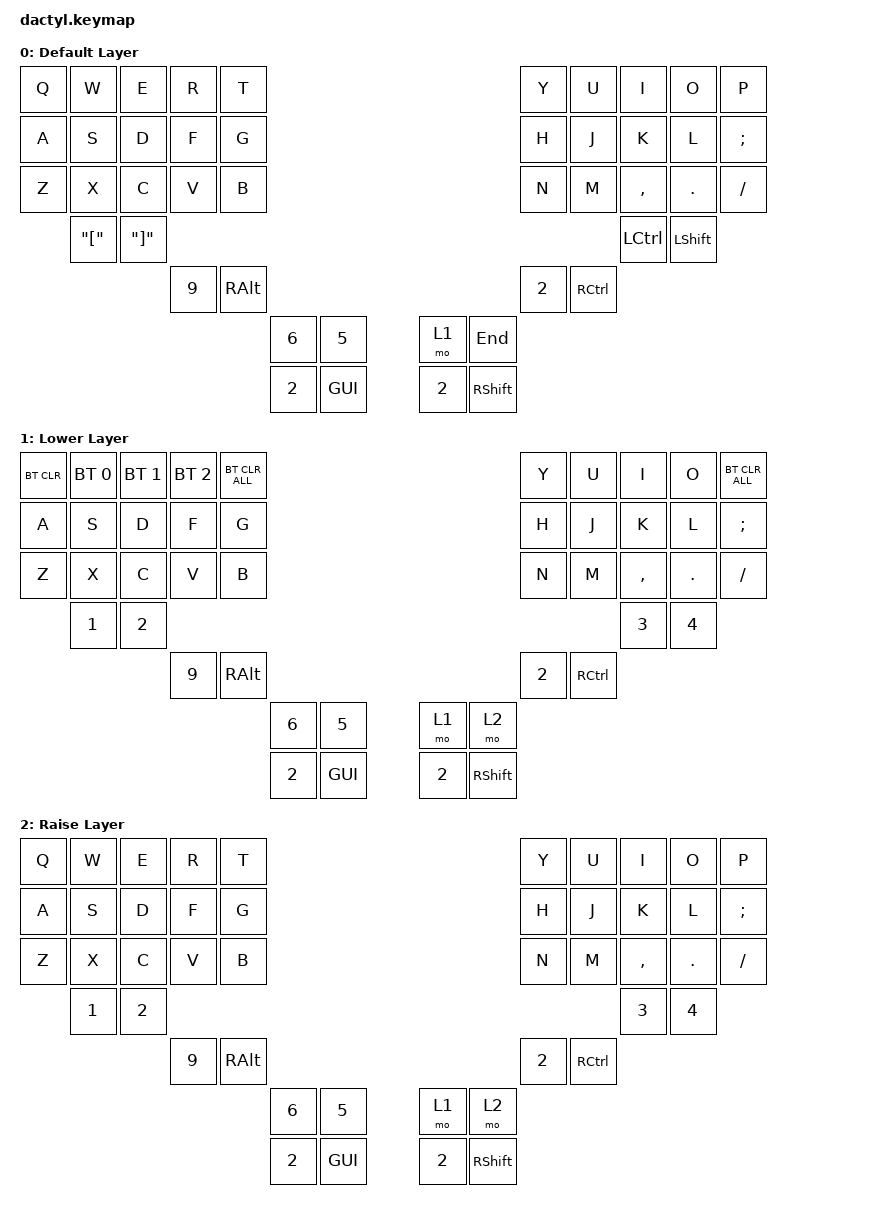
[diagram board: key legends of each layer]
/*
 * Copyright (c) 2020 The ZMK Contributors
 *
 * SPDX-License-Identifier: MIT
 */

#include <behaviors.dtsi>
#include <dt-bindings/zmk/keys.h>
#include <dt-bindings/zmk/bt.h>

/ {
        keymap {
                compatible = "zmk,keymap";

                default_layer {
                        display-name = "Default Layer";
// -----------------------------------------------------------------------------------------
// |  Q  |  W  |  E  |  R  |  T  |    		       |  Y  |  U   |  I  |  O  |  P  |
// |  A  |  S  |  D  |  F  |  G  |       		   |  H  |  J   |  K  |  L  |  ;  |
// |  Z  |  X  |  C  |  V  |  B  |       		   |  N  |  M   |  ,  |  .  |  /  |
//       | "[" | "]" |                       		            |  _  | CTRL |
//                   | CTRL | SHIFT |    		   |  LT  | SHIFT |
//					 | CTRL | SHIFT |   	       |  LT  | SHIFT |
//                   | CTRL | SHIFT |       	   |  LT  | SHIFT |					 
                        bindings = <
   &kp Q 	&kp W 		&kp E 	&kp R 		&kp T  						 &kp Y 		&kp U  		&kp I     &kp O   &kp P    
   &kp A 	&kp S 		&kp D 	&kp F 		&kp G  						 &kp H 		&kp J  		&kp K     &kp L   &kp SEMI 
   &kp Z 	&kp X 		&kp C 	&kp V 		&kp B  					 	 &kp N 		&kp M  		&kp COMMA &kp DOT &kp FSLH 
			&kp "[" 	&kp "]" &kp LCTRL 	&kp LSHIFT  				 &kp N9 	&kp RALT 	&kp N2 	  &kp RCTRL
			&kp N6 		&kp N5 	&mo 1  		&kp END				   	   	 &kp N2 	&kp GUI 	&kp N2 	  &kp RSHIFT
						        	
						         	
                        >;
                };
                lower_layer {
                        display-name = "Lower Layer";
						bindings = <
   &bt BT_CLR &bt BT_SEL 0 &bt BT_SEL 1 &bt BT_SEL 2 &bt BT_CLR_ALL 						 &kp Y &kp U  &kp I     &kp O   &bt BT_CLR_ALL    
   &kp A &kp S &kp D &kp F &kp G  						 &kp H &kp J  &kp K     &kp L   &kp SEMI 
   &kp Z &kp X &kp C &kp V &kp B  					 	 &kp N &kp M  &kp COMMA &kp DOT &kp FSLH 
         &kp N1 &kp N2 &kp N3 &kp N4  				     &kp N9 &kp RALT &kp N2 &kp RCTRL
		 &kp N6 &kp N5 &mo 1  &mo 2				   	   	 &kp N2 &kp GUI &kp N2 &kp RSHIFT						        	       	
						>;    
                };

                raise_layer {
                        display-name = "Raise Layer";
						bindings = <
   &kp Q &kp W &kp E &kp R &kp T  						 &kp Y &kp U  &kp I     &kp O   &kp P    
   &kp A &kp S &kp D &kp F &kp G  						 &kp H &kp J  &kp K     &kp L   &kp SEMI 
   &kp Z &kp X &kp C &kp V &kp B  					 	 &kp N &kp M  &kp COMMA &kp DOT &kp FSLH 
         &kp N1 &kp N2 &kp N3 &kp N4  				     &kp N9 &kp RALT &kp N2 &kp RCTRL
		 &kp N6 &kp N5 &mo 1  &mo 2				   	   	 &kp N2 &kp GUI &kp N2 &kp RSHIFT
						        	      	
						>;    
                };
        };
};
